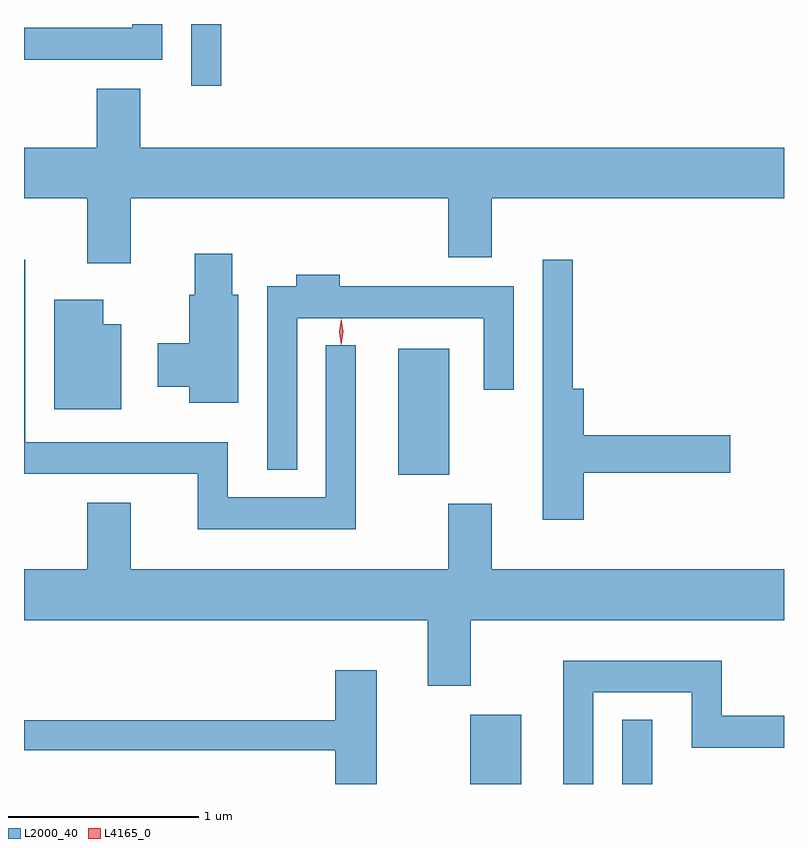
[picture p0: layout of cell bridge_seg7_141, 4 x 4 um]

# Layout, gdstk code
import gdstk
lib = gdstk.Library(unit=1e-6, precision=1e-09)
def R(c, l, rs):  # rectangles x0, y0, x1, y1
    for r in rs: c.add(gdstk.rectangle(r[:2], r[2:], *l))
def P(c, l, *ps):  # polygons
    for p in ps: c.add(gdstk.Polygon(p, *l))
L2000_40 = (2000, 40)
L4165_0 = (4165, 0)

bridge_seg7_141 = lib.new_cell('bridge_seg7_141')
R(bridge_seg7_141, L2000_40, [(1481.406,1704.574,1481.674,1704.939), (1482.206,1704.574,1482.364,1704.913), (1481.026,1706.201,1481.294,1706.864), (1479.936,1708.248,1480.094,1708.574)])
P(bridge_seg7_141, L2000_40, [(1479.784,1708.574),(1479.626,1708.574),(1479.626,1708.554),(1479.057,1708.554),(1479.057,1708.386),(1479.784,1708.386)],
  [(1479.619,1707.656),(1481.291,1707.656),(1481.291,1707.346),(1481.519,1707.346),(1481.519,1707.656),(1483.057,1707.656),(1483.057,1707.924),(1479.669,1707.924),(1479.669,1708.234),(1479.441,1708.234),(1479.441,1707.924),(1479.057,1707.924),(1479.057,1707.656),(1479.391,1707.656),(1479.391,1707.316),(1479.619,1707.316)],
  [(1480.184,1707.149),(1480.154,1707.149),(1480.154,1707.364),(1479.956,1707.364),(1479.956,1707.149),(1479.926,1707.149),(1479.926,1706.894),(1479.761,1706.894),(1479.761,1706.666),(1479.926,1706.666),(1479.926,1706.581),(1480.184,1706.581)],
  [(1482.004,1706.211),(1482.774,1706.211),(1482.774,1706.409),(1482.004,1706.409),(1482.004,1706.654),(1481.944,1706.654),(1481.944,1707.333),(1481.786,1707.333),(1481.786,1705.966),(1482.004,1705.966)],
  [(1480.804,1706.883),(1480.646,1706.883),(1480.646,1706.084),(1480.129,1706.084),(1480.129,1706.374),(1479.064,1706.374),(1479.064,1707.333),(1479.057,1707.333),(1479.057,1706.206),(1479.971,1706.206),(1479.971,1705.916),(1480.804,1705.916)],
  [(1480.494,1707.026),(1481.476,1707.026),(1481.476,1706.648),(1481.634,1706.648),(1481.634,1707.194),(1480.719,1707.194),(1480.719,1707.254),(1480.491,1707.254),(1480.491,1707.194),(1480.336,1707.194),(1480.336,1706.228),(1480.494,1706.228)],
  [(1479.569,1706.994),(1479.474,1706.994),(1479.474,1707.124),(1479.216,1707.124),(1479.216,1706.546),(1479.569,1706.546)],
  [(1481.409,1705.436),(1483.057,1705.436),(1483.057,1705.704),(1481.519,1705.704),(1481.519,1706.049),(1481.291,1706.049),(1481.291,1705.704),(1479.619,1705.704),(1479.619,1706.054),(1479.391,1706.054),(1479.391,1705.704),(1479.057,1705.704),(1479.057,1705.436),(1481.181,1705.436),(1481.181,1705.091),(1481.409,1705.091)],
  [(1482.054,1705.056),(1482.571,1705.056),(1482.571,1704.766),(1483.057,1704.766),(1483.057,1704.934),(1482.729,1704.934),(1482.729,1705.224),(1481.896,1705.224),(1481.896,1704.574),(1482.054,1704.574)],
  [(1480.914,1705.174),(1480.696,1705.174),(1480.696,1704.909),(1479.057,1704.909),(1479.057,1704.751),(1480.696,1704.751),(1480.696,1704.574),(1480.914,1704.574)])
P(bridge_seg7_141, L4165_0, [(1480.726,1706.884),(1480.717,1706.953),(1480.726,1707.022),(1480.727,1707.023),(1480.727,1707.022),(1480.737,1706.953),(1480.727,1706.884),(1480.727,1706.884)])

lib.write_gds('bridge_seg7_141.gds')
